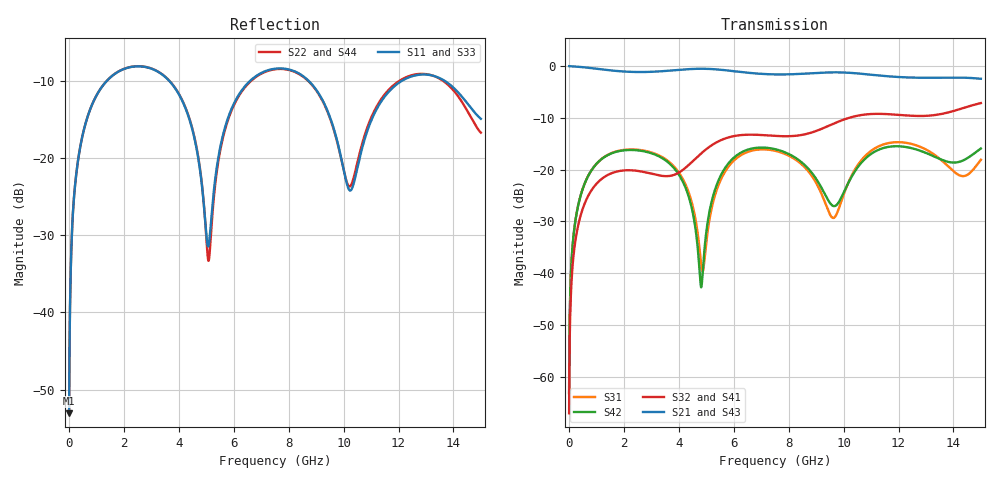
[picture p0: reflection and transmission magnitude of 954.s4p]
! Created with skrf 1.8.0 (http://scikit-rf.org).
# GHz S RI R 50.0
!freq ReS11 ImS11 ReS12 ImS12 ReS13 ImS13
! ReS14 ImS14
! ReS21 ImS21 ReS22 ImS22 ReS23 ImS23
! ReS24 ImS24
! ReS31 ImS31 ReS32 ImS32 ReS33 ImS33
! ReS34 ImS34
! ReS41 ImS41 ReS42 ImS42 ReS43 ImS43
! ReS44 ImS44
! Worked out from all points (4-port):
!   2499 points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, 5 MHz to 15 GHz, reference 50 ohm
!   strongest paths, dB at 5 MHz, 3.476 GHz, 7.19 GHz, 11.1 GHz, 15 GHz:
!     S21: 0.0, -1.0, -1.6, -1.7, -2.5
!     S43: 0.0, -1.0, -1.6, -1.7, -2.4
!     S32: -67.1, -21.3, -13.4, -9.2, -7.1
!     S41: -67.1, -21.3, -13.4, -9.2, -7.1
!     S42: -63.2, -18.1, -15.8, -16.6, -15.9
!     S31: -63.2, -17.9, -16.1, -16.0, -18.1
!   lowest |S11| = -53.1 dB at 5 MHz (marker M1), VSWR 1.00, Z = 50.2 + j0.135 ohm
!   |S11| at or under -10 dB: start of sweep to 1.378 GHz; 3.652 GHz to 6.595 GHz (2.943 GHz wide, 57.4 % of centre); 8.73 GHz to 12.12 GHz (3.392 GHz wide, 32.5 % of centre) (the widest 3 of 4)
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0.005  0.00176 0.00134  0.9982 -0.00344  8.86e-05 0.000687  -8.61e-05 -0.000433
       0.9982 -0.00344  0.00176 0.00134  -8.61e-05 -0.000433  8.85e-05 0.000687
       8.86e-05 0.000687  -8.61e-05 -0.000433  0.00176 0.00134  0.9982 -0.00344
       -8.61e-05 -0.000433  8.85e-05 0.000687  0.9982 -0.00344  0.00176 0.00134
0.3126303  0.0272 0.0878  0.9628 -0.2131  0.0125 0.0404  -0.0103 -0.0251
           0.9628 -0.2131  0.0272 0.0878  -0.0103 -0.0251  0.0123 0.0404
           0.0125 0.0404  -0.0103 -0.0251  0.0272 0.0878  0.9628 -0.2131
           -0.0103 -0.0251  0.0123 0.0404  0.9628 -0.2131  0.0273 0.0878
1.469362  0.2766 0.1769  0.5356 -0.7374  0.1295 0.0567  -0.0901 -0.00404
          0.5356 -0.7374  0.2775 0.1763  -0.0902 -0.00391  0.1269 0.0602
          0.1295 0.0567  -0.0902 -0.00391  0.2766 0.1769  0.5356 -0.7374
          -0.0901 -0.00404  0.1269 0.0602  0.5356 -0.7374  0.2776 0.1762
4.808253  0.0374 -0.0645  -0.9134 -0.2318  -0.0106 -0.0066  -0.0314 0.1393
          -0.9134 -0.2318  0.0329 -0.0686  -0.0295 0.1397  0.00725 -0.000987
          -0.0106 -0.0066  -0.0295 0.1397  0.0376 -0.0641  -0.9134 -0.2316
          -0.0314 0.1393  0.00725 -0.000987  -0.9134 -0.2316  0.0326 -0.0684
7.746978  0.3807 -0.00887  -0.0538 0.8286  0.1234 -0.0773  0.2048 -0.0413
          -0.0538 0.8286  0.3778 -0.00447  0.2052 -0.0457  0.1247 -0.0849
          0.1234 -0.0773  0.2052 -0.0457  0.3815 -0.00713  -0.0537 0.8279
          0.2048 -0.0413  0.1247 -0.0849  -0.0537 0.8279  0.3799 -0.00627
10.5544  0.0766 0.0558  0.8447 -0.0683  0.0519 0.1017  -0.0394 -0.3313
         0.8447 -0.0683  0.0824 0.0603  -0.0479 -0.33  0.0356 0.1028
         0.0519 0.1017  -0.0479 -0.33  0.0787 0.0509  0.8451 -0.0671
         -0.0394 -0.3313  0.0356 0.1028  0.8451 -0.0671  0.0793 0.0579
15  0.1704 -0.0568  -0.6901 -0.3041  -0.056 0.1111  -0.1905 0.3967
    -0.6901 -0.3041  0.1413 -0.0367  -0.1763 0.4023  -0.1176 0.1084
    -0.056 0.1111  -0.1763 0.4023  0.1708 -0.0519  -0.6917 -0.302
    -0.1905 0.3967  -0.1176 0.1084  -0.6917 -0.302  0.1337 -0.0286
